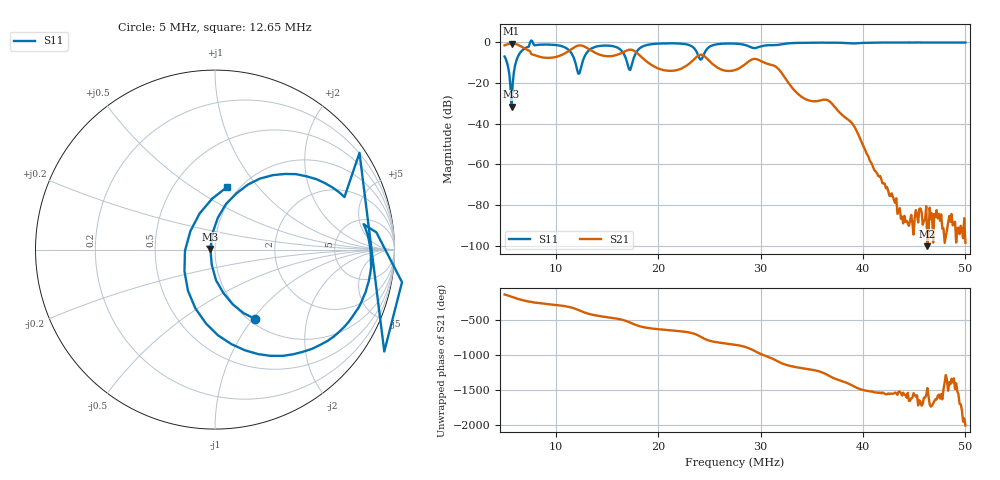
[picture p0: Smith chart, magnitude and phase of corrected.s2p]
! S11/S21 only; reverse parameters are placeholders. Device calibration unverified.
! [Saver CAL applied] C:\Users\aknya\MyProjects\rf-simulator\calibration2.cal | Ideal standards assumed | Input: NanoVNA F V2 profile | COM3 | 2026-09-08T12:20:13.5466311-04:00 | device calibration unverified
# HZ S RI R 50
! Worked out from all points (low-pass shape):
!   401 points, 5 MHz to 50 MHz, reference 50 ohm
!   highest |S21| = -0.69 dB at 5.675 MHz (marker M1); lowest = -100.2 dB at 46.29 MHz (marker M2)
!   |S21| within 3 dB of the highest: start of sweep to 7.186 MHz; 11.46 MHz to 13.32 MHz (1.853 MHz wide, 15 % of centre)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
!   lowest |S11| = -31.7 dB at 5.675 MHz (marker M3), VSWR 1.05, Z = 47.5 + j0.325 ohm
!   |S11| at or under -10 dB: 5.232 MHz to 6.098 MHz (866.8 kHz wide, 15.3 % of centre); 11.91 MHz to 12.59 MHz (687.4 kHz wide, 5.61 % of centre); 16.96 MHz to 17.48 MHz (519.6 kHz wide, 3.02 % of centre)
!   S12 and S22 are empty: the file has one direction only
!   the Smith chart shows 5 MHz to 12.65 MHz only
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5000000  0.221 -0.385  -0.6805 -0.489  0 0  0 0
5675000  -0.0258 0.00342  -0.9201 -0.0848  0 0  0 0
6687500  0.4507 0.4205  -0.5722 0.5106  0 0  0 0
7812500  0.8989 0.0962  -0.1244 0.4752  0 0  0 0
1.11875e7  0.3089 -0.5917  0.4312 0.3996  0 0  0 0
1.25375e7  -0.016 0.2837  0.7539 -0.3322  0 0  0 0
1.47875e7  0.8169 -0.1129  -0.0854 -0.4497  0 0  0 0
1.63625e7  0.34 -0.5428  -0.3967 -0.355  0 0  0 0
1.715e7  -0.1984 -0.0875  -0.6473 -0.0589  0 0  0 0
1.805e7  0.3685 0.5389  -0.3427 0.38  0 0  0 0
2.0075e7  0.9221 0.045  0.0263 0.2204  0 0  0 0
2.31125e7  0.6897 -0.4658  0.2533 0.1762  0 0  0 0
2.40125e7  0.333 -0.2414  0.4686 -0.1014  0 0  0 0
2.46875e7  0.6383 0.0445  0.189 -0.3683  0 0  0 0
2.75e7  0.8123 -0.4324  -0.1494 -0.1425  0 0  0 0
2.9075e7  0.6001 -0.4414  -0.3442 0.1282  0 0  0 0
3.12125e7  0.7249 -0.4322  0.2502 0.1006  0 0  0 0
3.50375e7  0.7028 -0.6708  -0.0235 -0.0268  0 0  0 0
3.88625e7  0.5325 -0.7658  0.0104 0.00228  0 0  0 0
4.2575e7  0.4421 -0.8728  -7.74e-05 -0.000151  0 0  0 0
4.62875e7  0.2973 -0.9332  8.31e-06 -5.13e-06  0 0  0 0
5e7  0.1561 -0.9674  -1.1e-05 4.37e-06  0 0  0 0
